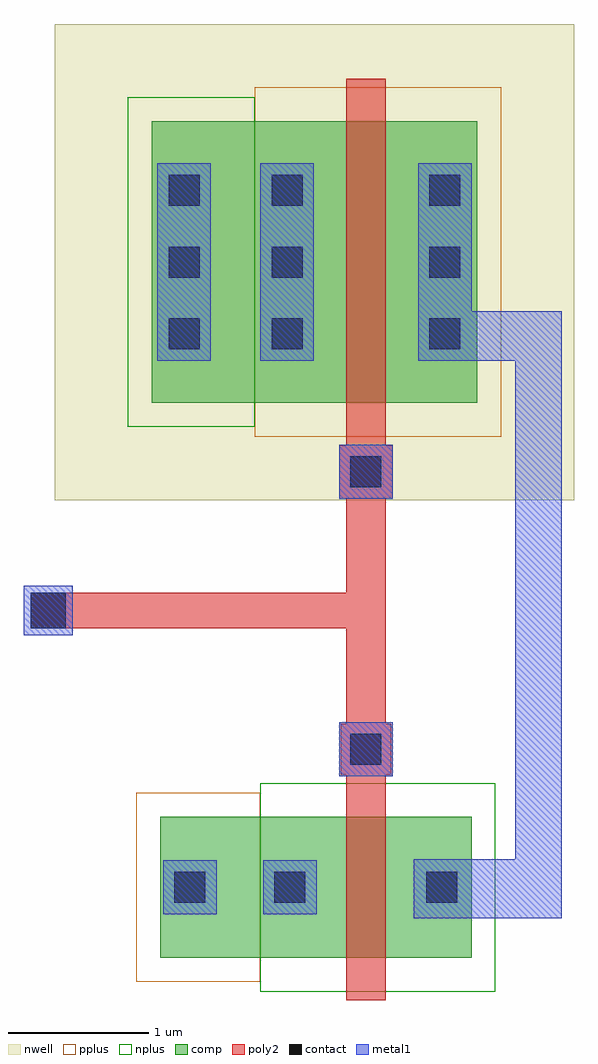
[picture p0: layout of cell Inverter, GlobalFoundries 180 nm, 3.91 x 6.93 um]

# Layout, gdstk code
from math import pi, radians
import gdstk
lib = gdstk.Library(unit=1e-6, precision=1e-09)
def R(c, l, rs):  # rectangles x0, y0, x1, y1
    for r in rs: c.add(gdstk.rectangle(r[:2], r[2:], *l))
def A(c, l, x, y, w, h, nx, ny, dx, dy):  # array of equal rectangles
    R(c, l, [(x+i*dx, y+j*dy, x+i*dx+w, y+j*dy+h) for i in range(nx) for j in range(ny)])
nwell = (21, 0)
comp = (22, 0)
poly2 = (30, 0)
pplus = (31, 0)
nplus = (32, 0)
contact = (33, 0)
metal1 = (34, 0)

nfet = lib.new_cell('nfet')
R(nfet, comp, [(-0.42,0,0,1), (0,0,0.66,1), (0.66,0,1.08,1), (1.08,0,1.79,1)])
R(nfet, poly2, [(0.19,-0.3,0.47,1.3), (0.15,1.3,0.51,1.66)])
R(nfet, pplus, [(1.08,-0.17,1.96,1.17)])
R(nfet, nplus, [(-0.59,-0.24,1.08,1.24)])
R(nfet, contact, [(-0.32,0.39,-0.1,0.61), (0.76,0.39,0.98,0.61), (1.47,0.39,1.69,0.61), (0.22,1.37,0.44,1.59)])
R(nfet, metal1, [(-0.4,0.309,-0.02,0.691), (0.68,0.309,1.06,0.691), (1.39,0.309,1.77,0.691), (0.14,1.289,0.52,1.671)])

pfet = lib.new_cell('pfet')
R(pfet, nwell, [(-1.15,-0.69,2.54,2.69)])
R(pfet, comp, [(-0.46,0,0,2), (0,0,0.66,2), (0.66,0,1.12,2), (1.12,0,1.85,2)])
R(pfet, poly2, [(0.19,-0.3,0.47,2.3), (0.14,2.3,0.52,2.68)])
R(pfet, pplus, [(-0.63,-0.24,1.12,2.24)])
R(pfet, nplus, [(1.12,-0.17,2.02,2.17)])
A(pfet, contact, -0.34, 0.38, 0.22, 0.22, 1, 3, 0, 0.51)
A(pfet, contact, 0.78, 0.38, 0.22, 0.22, 1, 3, 0, 0.51)
A(pfet, contact, 1.51, 0.38, 0.22, 0.22, 1, 3, 0, 0.51)
R(pfet, contact, [(0.22,2.38,0.44,2.6)])
R(pfet, metal1, [(-0.42,0.3,-0.04,1.7), (0.7,0.3,1.08,1.7), (1.43,0.3,1.81,1.7), (0.14,2.299,0.52,2.681)])

inverter = lib.new_cell('Inverter')
R(inverter, poly2, [(-56.86,-172.22,-56.58,-169.62), (-59.1,-170.95,-56.58,-170.7)])
R(inverter, contact, [(-59.1,-170.95,-58.85,-170.7)])
R(inverter, metal1, [(-56.38,-173.01,-55.33,-172.59), (-55.66,-173.01,-55.33,-168.7), (-59.15,-171,-58.8,-170.65), (-56.35,-169.05,-55.33,-168.7)])
inverter.add(gdstk.Reference(nfet, (-56.39,-173.29), rotation=pi, x_reflection=True))
inverter.add(gdstk.Reference(pfet, (-56.39,-167.35), rotation=pi))

lib.write_gds('Inverter.gds')
